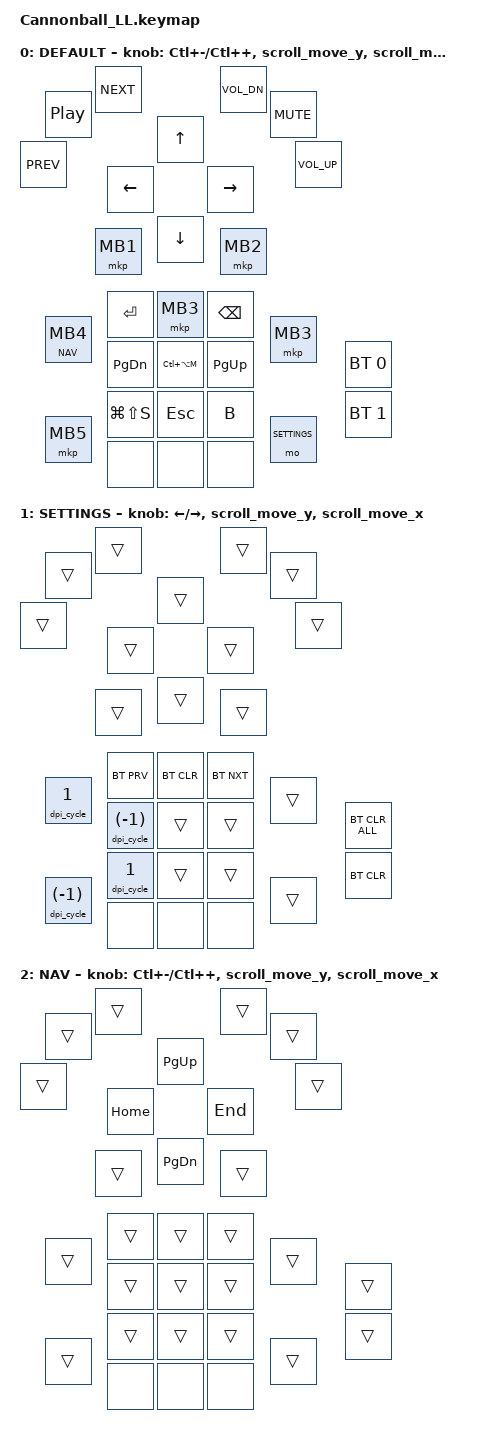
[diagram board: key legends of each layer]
#include <behaviors.dtsi>
#include <dt-bindings/zmk/bt.h>
#include <dt-bindings/zmk/keys.h>
#include <dt-bindings/zmk/pointing.h>
#include <dt-bindings/zmk/input_transform.h>

#define DEFAULT 0
#define SETTINGS 1
#define NAV 2

/ {
    /* Behaviors */
    // スクロール設定
    msc {
        acceleration-exponent = <0>;
        time-to-max-speed-ms = <200>;
        delay-ms = <5>;
    };

    behaviors {
        // エンコーダー：キー入力
        rot_kp: sensor_rotate_kp {
            compatible = "zmk,behavior-sensor-rotate-var";
            #sensor-binding-cells = <2>;
            bindings = <&kp>, <&kp>;
        };

        // エンコーダー：マウススクロール(MOVE_Y)
        scroll_move_y: sensor_rotate_msc_for_move_y {
            compatible = "zmk,behavior-sensor-rotate";
            #sensor-binding-cells = <0>;
            bindings = <&msc MOVE_Y(20)>, <&msc MOVE_Y(-20)>;
            tap-ms = <65>;
        };

        // エンコーダー：マウススクロール(MOVE_X)
        scroll_move_x: sensor_rotate_msc_for_move_x {
            compatible = "zmk,behavior-sensor-rotate";
            #sensor-binding-cells = <0>;
            bindings = <&msc MOVE_X(20)>, <&msc MOVE_X(-20)>;
            tap-ms = <65>;
        };

        // レイヤータップ + マウスボタン (Hold: NAVレイヤー, Tap: MB4)
        lt_mb4: layer_tap_mb4 {
            compatible = "zmk,behavior-hold-tap";
            #binding-cells = <2>;
            flavor = "tap-preferred";
            tapping-term-ms = <200>;
            bindings = <&mo>, <&mkp>;
        };

        // トラックボール CPI サイクル切り替え (400 -> 600 -> 900 -> 1200 -> 1600 -> 2100 -> 2800)
        dpi_cycle: dpi_cycle {
            compatible = "zmk,behavior-sensor-attr-cycle";
            #binding-cells = <1>;
            sensor_device = <&trackball>;
            values = <400 600 900 1200 1600 2100 2800>;
            attr = <0>; // PMW3610_ATTR_CPI
            persistant;
            save_delay = <2000>;
            load_delay = <1000>;
        };
    };

    /* キーマップ */
    keymap {
        compatible = "zmk,keymap";

        // DEFAULT レイヤー (通常操作: RMKのカスタマイズを完全移植)
        DEFAULT {
            bindings = <
                // Keys (Upper-right to Lower-left, 12 keys)
                &kp BSPC        &kp PG_UP       &kp B           &none
                &mkp MB3        &kp LC(LA(M))   &kp ESC         &none
                &kp RET         &kp PG_DN       &kp LG(LS(S))   &none

                // Mouse (Left, Right)
                &mkp MB1        &mkp MB2

                // Stick (Up, Left, Down, Right)
                &kp UP          &kp LEFT        &kp DOWN        &kp RIGHT

                // Lever (Upper 3: Prev, Play/Pause, Next / Lower 3: VolDown, Mute, VolUp)
                &kp C_PREV      &kp C_PP        &kp C_NEXT
                &kp C_VOL_DN    &kp C_MUTE      &kp C_VOL_UP

                // Side (Upper-left, Lower-left, Upper-right, Lower-right)
                // Upper-left: Tap MB4 / Hold NAV(2), Lower-left: MB5, Upper-right: MB3, Lower-right: mo SETTINGS(1)
                &lt_mb4 NAV MB4 &mkp MB5        &mkp MB3        &mo SETTINGS

                // Back (Upper, Lower)
                &bt BT_SEL 0    &bt BT_SEL 1
            >;

            // Encoder (Head: Zoom, Chest: Vertical Scroll, Leg: Horizontal Scroll)
            sensor-bindings = <&rot_kp LC(MINUS) LC(PLUS)>, <&scroll_move_y>, <&scroll_move_x>;
        };

        // SETTINGS レイヤー (トラックボールスクロール & BLE設定 & CPI設定)
        SETTINGS {
            bindings = <
                // Keys
                &bt BT_NXT      &trans          &trans          &none
                &bt BT_CLR      &trans          &trans          &none
                &bt BT_PRV      &dpi_cycle (-1) &dpi_cycle 1    &none

                // Mouse
                &trans          &trans

                // Stick
                &trans          &trans          &trans          &trans

                // Lever
                &trans          &trans          &trans
                &trans          &trans          &trans

                // Side (Upper-left: CPI+, Lower-left: CPI-)
                &dpi_cycle 1    &dpi_cycle (-1) &trans          &trans

                // Back
                &bt BT_CLR_ALL  &bt BT_CLR
            >;

            sensor-bindings = <&rot_kp LEFT RIGHT>, <&scroll_move_y>, <&scroll_move_x>;
        };

        // NAV レイヤー (十字スティックがページ・カーソル移動)
        NAV {
            bindings = <
                // Keys
                &trans          &trans          &trans          &none
                &trans          &trans          &trans          &none
                &trans          &trans          &trans          &none

                // Mouse
                &trans          &trans

                // Stick (Up: PgUp, Left: Home, Down: PgDn, Right: End)
                &kp PG_UP       &kp HOME        &kp PG_DN       &kp END

                // Lever
                &trans          &trans          &trans
                &trans          &trans          &trans

                // Side
                &trans          &trans          &trans          &trans

                // Back
                &trans          &trans
            >;

            sensor-bindings = <&rot_kp LC(MINUS) LC(PLUS)>, <&scroll_move_y>, <&scroll_move_x>;
        };
    };
};
